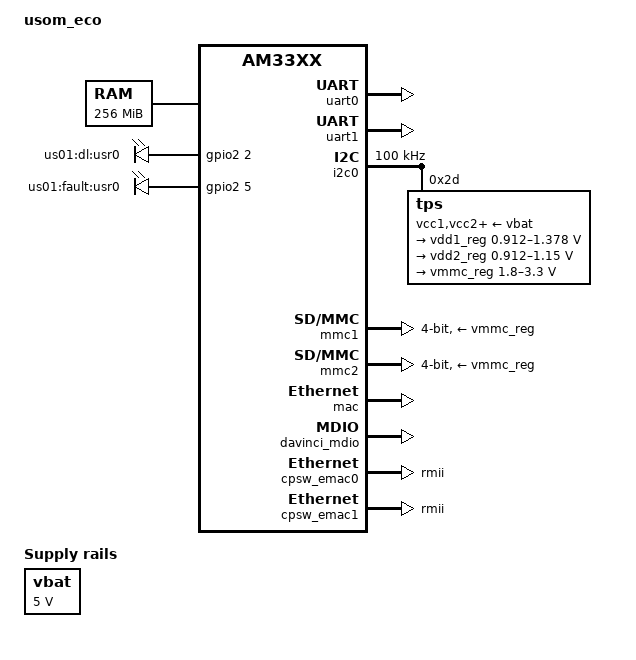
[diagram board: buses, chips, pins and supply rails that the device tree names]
/*
 * Copyright (C) 2012 Texas Instruments Incorporated - http://www.ti.com/
 *
 * This program is free software; you can redistribute it and/or modify
 * it under the terms of the GNU General Public License version 2 as
 * published by the Free Software Foundation.
 */
/dts-v1/;

#include "am33xx.dtsi"

/ {
	model = "usom_eco";
	compatible = "ti,am335x-evm", "ti,am33xx";

	cpus {
		cpu@0 {
			cpu0-supply = <&vdd1_reg>;
		};
	};

	memory {
		device_type = "memory";
		reg = <0x80000000 0x10000000>; /* 256 MB */
	};

	vbat: fixedregulator@0 {
		compatible = "regulator-fixed";
		regulator-name = "vbat";
		regulator-min-microvolt = <5000000>;
		regulator-max-microvolt = <5000000>;
		regulator-boot-on;
	};

	leds {
		pinctrl-names = "default", "sleep";
		pinctrl-0 = <&user_leds_default>;

		compatible = "gpio-leds";

		led@1 {
			label = "us01:dl:usr0";
			gpios = <&gpio2 2 GPIO_ACTIVE_HIGH>;
			default-state = "on";
		};

		led@2 {
			label = "us01:fault:usr0";
			gpios = <&gpio2 5 GPIO_ACTIVE_HIGH>;
			default-state = "off";
		};
	};


};

&am33xx_pinmux {
	pinctrl-names = "default";
	pinctrl-0 = <&phyuart_ctrl_pins>;

	i2c0_pins: pinmux_i2c0_pins {
		pinctrl-single,pins = <
			0x188 (PIN_INPUT_PULLUP | MUX_MODE0)	/* i2c0_sda.i2c0_sda */
			0x18c (PIN_INPUT_PULLUP | MUX_MODE0)	/* i2c0_scl.i2c0_scl */
		>;
	};

	uart0_pins: pinmux_uart0_pins {
		pinctrl-single,pins = <
			0x170 (PIN_INPUT_PULLUP | MUX_MODE0)	/* uart0_rxd.uart0_rxd */
			0x174 (PIN_OUTPUT_PULLDOWN | MUX_MODE0)	/* uart0_txd.uart0_txd */
			0x168 (PIN_INPUT | MUX_MODE0)			/* uart0_ctsn.uart0_ctsn */
			0x16C (PIN_OUTPUT_PULLDOWN | MUX_MODE0)	/* uart0_rtsn.uart0_rtsn */

		>;
	};

	uart1_pins_default: pinmux_uart1_pins_default {
		pinctrl-single,pins = <
			0x178 (PIN_INPUT | MUX_MODE0)			/* uart1_ctsn.uart1_ctsn */
			0x17C (PIN_OUTPUT_PULLDOWN | MUX_MODE0)	/* uart1_rtsn.uart1_rtsn */
			0x180 (PIN_INPUT_PULLUP | MUX_MODE0)	/* uart1_rxd.uart1_rxd */
			0x184 (PIN_OUTPUT_PULLDOWN | MUX_MODE0) 	/* uart1_txd.uart1_txd */
		>;
	};

	uart1_pins_sleep: pinmux_uart1_pins_sleep {
		pinctrl-single,pins = <
			0x178 (PIN_INPUT_PULLDOWN | MUX_MODE7)
			0x17C (PIN_INPUT_PULLDOWN | MUX_MODE7)
			0x180 (PIN_INPUT_PULLDOWN | MUX_MODE7)
			0x184 (PIN_INPUT_PULLDOWN | MUX_MODE7)
		>;
	};

	phyuart_ctrl_pins: pinmux_phyuart_ctrl_pins {
		  pinctrl-single,pins = <
			0x1c 0x2f	/* gpmc_ad7: mode_rs485/rs232* / gpio1_7 IN/OUT | MODE7 */
			0x18 0x2f	/* gpmc_ad6: dxen              / gpio1_6 IN/OUT | MODE7 */
			0x14 0x2f	/* gpmc_ad5: rxen              / gpio1_5 IN/OUT | MODE7 */
	  >;
	};

	user_leds_default: user_leds_default {
		pinctrl-single,pins = <
			0x94 (PIN_OUTPUT_PULLDOWN | MUX_MODE7)	/* gpio2_5 */
			0x88 (PIN_OUTPUT_PULLDOWN | MUX_MODE7)	/* gpio2_2 */
		>;
	};

	mmc1_pins_default: pinmux_mmc1_pins {
		pinctrl-single,pins = <
			0x0F0 (PIN_INPUT_PULLUP | MUX_MODE0)	/* mmc0_dat3.mmc0_dat3 */
			0x0F4 (PIN_INPUT_PULLUP | MUX_MODE0)	/* mmc0_dat2.mmc0_dat2 */
			0x0F8 (PIN_INPUT_PULLUP | MUX_MODE0)	/* mmc0_dat1.mmc0_dat1 */
			0x0FC (PIN_INPUT_PULLUP | MUX_MODE0)	/* mmc0_dat0.mmc0_dat0 */
			0x100 (PIN_INPUT_PULLUP | MUX_MODE0)	/* mmc0_clk.mmc0_clk */
			0x104 (PIN_INPUT_PULLUP | MUX_MODE0)	/* mmc0_cmd.mmc0_cmd */
		>;
	};

	mmc1_pins_sleep: pinmux_mmc1_pins_sleep {
		pinctrl-single,pins = <
			0x0F0 (PIN_INPUT_PULLDOWN | MUX_MODE7)
			0x0F4 (PIN_INPUT_PULLDOWN | MUX_MODE7)
			0x0F8 (PIN_INPUT_PULLDOWN | MUX_MODE7)
			0x0FC (PIN_INPUT_PULLDOWN | MUX_MODE7)
			0x100 (PIN_INPUT_PULLDOWN | MUX_MODE7)
			0x104 (PIN_INPUT_PULLDOWN | MUX_MODE7)
		>;
	};

	emmc_pins: pinmux_emmc_pins {
		pinctrl-single,pins = <
			0x80 (PIN_INPUT_PULLUP | MUX_MODE2) /* gpmc_csn1.mmc1_clk */
			0x84 (PIN_INPUT_PULLUP | MUX_MODE2) /* gpmc_csn2.mmc1_cmd */
			0x00 (PIN_INPUT_PULLUP | MUX_MODE1) /* gpmc_ad0.mmc1_dat0 */
			0x04 (PIN_INPUT_PULLUP | MUX_MODE1) /* gpmc_ad1.mmc1_dat1 */
			0x08 (PIN_INPUT_PULLUP | MUX_MODE1) /* gpmc_ad2.mmc1_dat2 */
			0x0c (PIN_INPUT_PULLUP | MUX_MODE1) /* gpmc_ad3.mmc1_dat3 */
		>;
	};

	cpsw_default: cpsw_default {
		pinctrl-single,pins = <
			/* Slave 1 */
			0x10c (PIN_INPUT_PULLDOWN | MUX_MODE1) /* mii1_crs.mcasp1_aclkx */
			0x144 (PIN_INPUT_PULLDOWN | MUX_MODE0) /* rmii1_ref_clk.mcasp1_axr3 */
			0x13c (PIN_INPUT_PULLDOWN | MUX_MODE1)	/* mii1_rxd1.rgmii1_rd1 */
			0x140 (PIN_INPUT_PULLDOWN | MUX_MODE1)	/* mii1_rxd0.rgmii1_rd0 */
			0x110 (PIN_INPUT_PULLDOWN | MUX_MODE1) /* mii1_rxerr.mcasp1_fsx */
			0x124 (PIN_OUTPUT_PULLDOWN | MUX_MODE1)	/* mii1_txd1.rgmii1_td1 */
			0x128 (PIN_OUTPUT_PULLDOWN | MUX_MODE1)	/* mii1_txd0.rgmii1_td0 */
			0x114 (PIN_OUTPUT_PULLDOWN | MUX_MODE1)	/* mii1_txen.rgmii1_tctl */
		>;
	};

	cpsw_sleep: cpsw_sleep {
		pinctrl-single,pins = <
			/* Slave 1 reset value */
			0x10c (PIN_INPUT_PULLDOWN | MUX_MODE7)  /* mii1_crs.mcasp1_aclkx */
			0x144 (PIN_INPUT_PULLDOWN | MUX_MODE7)  /* rmii1_ref_clk.mcasp1_axr3 */
			0x13c (PIN_INPUT_PULLDOWN | MUX_MODE7)  /* mii1_rxd1.rgmii1_rd1 */
			0x140 (PIN_INPUT_PULLDOWN | MUX_MODE7)  /* mii1_rxd0.rgmii1_rd0 */
			0x110 (PIN_INPUT_PULLDOWN | MUX_MODE7)  /* mii1_rxerr.mcasp1_fsx */
			0x124 (PIN_OUTPUT_PULLDOWN | MUX_MODE7)	/* mii1_txd1.rgmii1_td1 */
			0x128 (PIN_OUTPUT_PULLDOWN | MUX_MODE7)	/* mii1_txd0.rgmii1_td0 */
			0x114 (PIN_OUTPUT_PULLDOWN | MUX_MODE7)	/* mii1_txen.rgmii1_tctl */
		>;
	};

	davinci_mdio_default: davinci_mdio_default {
		pinctrl-single,pins = <
			/* MDIO */
			0x148 (PIN_INPUT_PULLUP | SLEWCTRL_FAST | MUX_MODE0)	/* mdio_data.mdio_data */
			0x14c (PIN_OUTPUT_PULLUP | MUX_MODE0)			/* mdio_clk.mdio_clk */
		>;
	};

	davinci_mdio_sleep: davinci_mdio_sleep {
		pinctrl-single,pins = <
			/* MDIO reset value */
			0x148 (PIN_INPUT_PULLDOWN | MUX_MODE7)
			0x14c (PIN_INPUT_PULLDOWN | MUX_MODE7)
		>;
	};



};

&uart0 {
	pinctrl-names = "default";
	pinctrl-0 = <&uart0_pins>;
	mode-gpio = <&gpio1 7 0>;
	rts-gpio = <&gpio1 6 0>;
	rxen-gpio = <&gpio1 5 0>;
	rs485-rts-active-high;

	status = "okay";
};

&uart1{
	pinctrl-names = "default", "sleep";
	pinctrl-0 = <&uart1_pins_default>;
	pinctrl-1 = <&uart1_pins_sleep>;

	status = "okay";
};

&i2c0 {
	pinctrl-names = "default";
	pinctrl-0 = <&i2c0_pins>;

	status = "okay";
	clock-frequency = <100000>;

	tps: tps@2d {
		reg = <0x2d>;
	};
};

&mmc1 {
	status = "okay";
	vmmc-supply = <&vmmc_reg>;
	bus-width = <4>;
	pinctrl-names = "default", "sleep";
	pinctrl-0 = <&mmc1_pins_default>;
	pinctrl-1 = <&mmc1_pins_sleep>;
};

&mmc2 {
  vmmc-supply = <&vmmc_reg>;
  pinctrl-names = "default";
  pinctrl-0 = <&emmc_pins>;
  bus-width = <4>;
  ti,non-removable;
  status = "okay";
};


&mac {
	slaves = <1>;
	pinctrl-names = "default", "sleep";
	pinctrl-0 = <&cpsw_default>;
	pinctrl-1 = <&cpsw_sleep>;
	status = "okay";
};

&davinci_mdio {
	pinctrl-names = "default", "sleep";
	pinctrl-0 = <&davinci_mdio_default>;
	pinctrl-1 = <&davinci_mdio_sleep>;
	status = "okay";
};

&cpsw_emac0 {
  phy_id = <&davinci_mdio>, <1>;
  phy-mode = "rmii";
};

&cpsw_emac1 {
  phy_id = <&davinci_mdio>, <2>;
  phy-mode = "rmii";
};

&phy_sel {
	rmii-clock-ext;
};

#include "tps65910.dtsi"

&tps {
	vcc1-supply = <&vbat>;
	vcc2-supply = <&vbat>;
	vcc3-supply = <&vbat>;
	vcc4-supply = <&vbat>;
	vcc5-supply = <&vbat>;
	vcc6-supply = <&vbat>;
	vcc7-supply = <&vbat>;
	vccio-supply = <&vbat>;

	regulators {
		vrtc_reg: regulator@0 {
			regulator-always-on;
		};

		vio_reg: regulator@1 {
			regulator-always-on;
		};

		vdd1_reg: regulator@2 {
			/* VDD_MPU voltage limits 0.95V - 1.325V with +/-4% tolerance */
			regulator-name = "vdd_mpu";
			regulator-min-microvolt = <912500>;
			regulator-max-microvolt = <1378000>;
			regulator-boot-on;
			regulator-always-on;
		};

		vdd2_reg: regulator@3 {
			/* VDD_CORE voltage limits 0.95V - 1.1V with +/-4% tolerance */
			regulator-name = "vdd_core";
			regulator-min-microvolt = <912500>;
			regulator-max-microvolt = <1150000>;
			regulator-boot-on;
			regulator-always-on;
		};

		vdd3_reg: regulator@4 {
			regulator-always-on;
		};

		vdig1_reg: regulator@5 {
			regulator-always-on;
		};

		vdig2_reg: regulator@6 {
			regulator-always-on;
		};

		vpll_reg: regulator@7 {
			regulator-always-on;
		};

		vdac_reg: regulator@8 {
			regulator-always-on;
		};

		vaux1_reg: regulator@9 {
			regulator-always-on;
		};

		vaux2_reg: regulator@10 {
			regulator-always-on;
		};

		vaux33_reg: regulator@11 {
			regulator-always-on;
		};

		vmmc_reg: regulator@12 {
			regulator-min-microvolt = <1800000>;
			regulator-max-microvolt = <3300000>;
			regulator-always-on;
		};
	};
};


